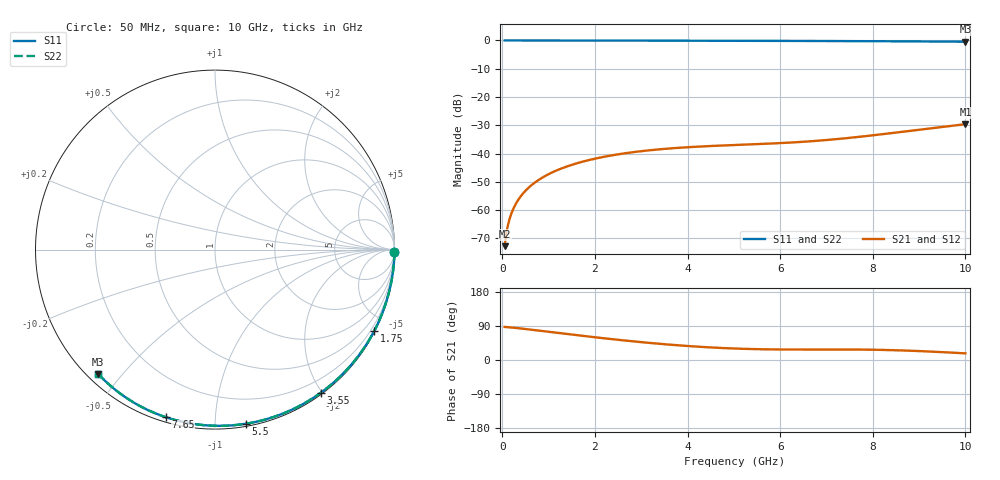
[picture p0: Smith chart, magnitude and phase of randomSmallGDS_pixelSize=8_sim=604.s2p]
! freq	dB(S11)	phase(S11)	dB(S12)	phase(S12)
!  dB(S21)	phase(S21)	dB(S22)	phase(S22)
!S-par simulation data
#  GHz  S  DB  R 50
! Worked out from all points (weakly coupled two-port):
!   200 points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, 50 MHz to 10 GHz, reference 50 ohm
!   highest |S21| = -29.60 dB at 10 GHz (marker M1); lowest = -72.7 dB at 50 MHz (marker M2)
!   lowest |S11| = -0.4 dB at 10 GHz (marker M3), VSWR 39.46, Z = 1.5 - j21.6 ohm
!   |S11| at or under -10 dB: nowhere
!   |S22| runs from -0.4 to 0.0 dB; largest |S21 - S12| = 0
!   S11 on the Smith chart (normalised r, x): 50 MHz: open; 1.75 GHz: 0.04, -4.17; 3.55 GHz: 0.02, -1.99; 5.5 GHz: 0.02, -1.19; 7.65 GHz: 0.02, -0.75; 10 GHz: 0.03, -0.43
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0.05  -0.00 -0.8  -72.72 87.2  -72.72 87.2  -0.00 -0.8
0.1  -0.00 -1.6  -66.90 86.6  -66.90 86.6  -0.00 -1.6
0.15  -0.00 -2.4  -63.47 86.2  -63.47 86.2  -0.00 -2.4
0.2  -0.00 -3.1  -61.01 85.7  -61.01 85.7  -0.00 -3.1
0.25  -0.00 -3.9  -59.10 85.2  -59.10 85.2  -0.00 -3.9
0.35  -0.00 -5.5  -56.20 83.9  -56.20 83.9  -0.00 -5.5
0.5  -0.01 -7.8  -53.14 81.8  -53.14 81.8  -0.01 -7.8
0.7  -0.01 -10.9  -50.26 78.8  -50.26 78.8  -0.01 -10.9
1  -0.02 -15.5  -47.26 74.4  -47.26 74.4  -0.02 -15.5
1.35  -0.03 -20.9  -44.81 69.2  -44.81 69.2  -0.03 -20.9
1.75  -0.03 -27.0  -42.78 63.5  -42.78 63.5  -0.03 -27.0
2.5  -0.05 -38.2  -40.25 53.3  -40.25 53.3  -0.05 -38.2
3.4  -0.07 -51.3  -38.47 42.7  -38.47 42.7  -0.07 -51.2
3.55  -0.07 -53.4  -38.27 41.1  -38.27 41.1  -0.07 -53.4
4.3  -0.09 -63.8  -37.47 34.5  -37.47 34.5  -0.09 -63.8
5.05  -0.11 -74.0  -36.94 30.1  -36.94 30.1  -0.11 -73.9
5.5  -0.13 -79.8  -36.65 28.6  -36.65 28.6  -0.13 -79.8
6.7  -0.18 -95.0  -35.59 27.7  -35.59 27.7  -0.18 -94.9
7.65  -0.24 -106.4  -34.17 27.6  -34.17 27.6  -0.24 -106.4
8.35  -0.29 -114.6  -32.86 26.2  -32.86 26.2  -0.29 -114.5
9.2  -0.36 -124.3  -31.17 22.5  -31.17 22.5  -0.36 -124.2
10  -0.44 -133.3  -29.60 17.5  -29.60 17.5  -0.44 -133.2
